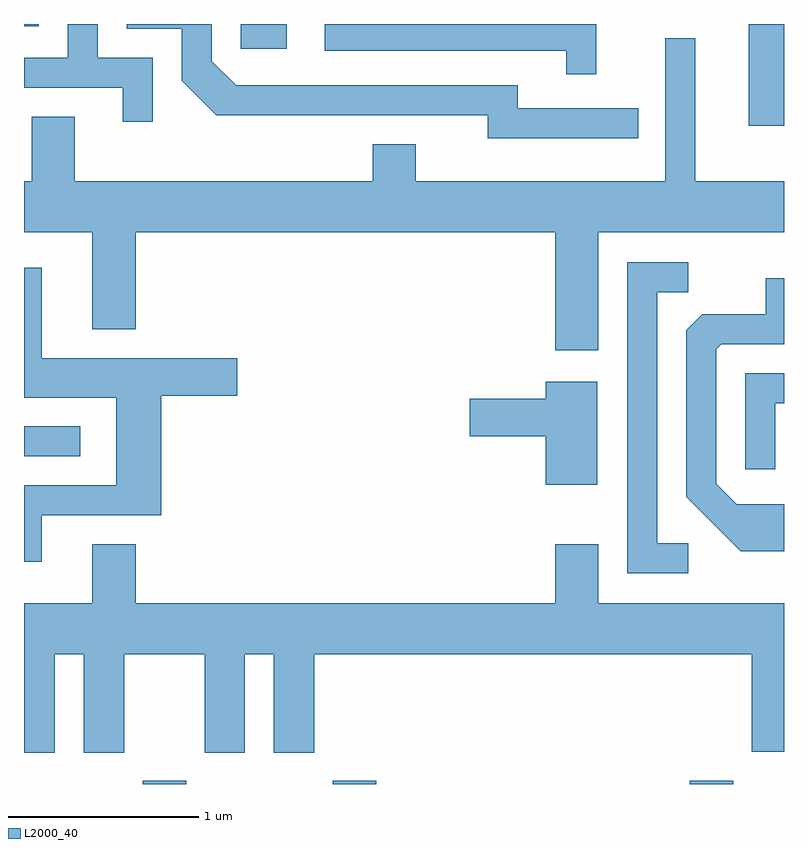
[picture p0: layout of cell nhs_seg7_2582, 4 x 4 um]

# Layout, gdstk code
import gdstk
lib = gdstk.Library(unit=1e-6, precision=1e-09)
def R(c, l, rs):  # rectangles x0, y0, x1, y1
    for r in rs: c.add(gdstk.rectangle(r[:2], r[2:], *l))
def P(c, l, *ps):  # polygons
    for p in ps: c.add(gdstk.Polygon(p, *l))
L2000_40 = (2000, 40)

nhs_seg7_2582 = lib.new_cell('nhs_seg7_2582')
R(nhs_seg7_2582, L2000_40, [(264.236,1760.252,264.464,1760.269), (265.236,1760.252,265.464,1760.269), (267.116,1760.252,267.344,1760.269), (263.611,1761.976,263.908,1762.134), (267.426,1763.716,267.611,1764.252), (264.751,1764.121,264.993,1764.252), (263.611,1764.241,263.689,1764.252)])
P(nhs_seg7_2582, L2000_40, [(266.624,1764.252),(265.193,1764.252),(265.193,1764.111),(266.466,1764.111),(266.466,1763.988),(266.624,1763.988)],
  [(264.289,1764.074),(263.999,1764.074),(263.999,1764.252),(263.841,1764.252),(263.841,1764.074),(263.611,1764.074),(263.611,1763.916),(264.131,1763.916),(264.131,1763.738),(264.289,1763.738)],
  [(266.843,1763.809),(266.209,1763.809),(266.209,1763.929),(264.727,1763.929),(264.599,1764.057),(264.599,1764.252),(264.151,1764.252),(264.151,1764.226),(264.441,1764.226),(264.441,1763.954),(264.624,1763.771),(266.051,1763.771),(266.051,1763.651),(266.843,1763.651)],
  [(266.634,1763.156),(267.611,1763.156),(267.611,1763.424),(267.144,1763.424),(267.144,1764.178),(266.986,1764.178),(266.986,1763.424),(265.674,1763.424),(265.674,1763.619),(265.446,1763.619),(265.446,1763.424),(263.879,1763.424),(263.879,1763.764),(263.651,1763.764),(263.651,1763.424),(263.611,1763.424),(263.611,1763.156),(263.971,1763.156),(263.971,1762.646),(264.199,1762.646),(264.199,1763.156),(266.406,1763.156),(266.406,1762.536),(266.634,1762.536)],
  [(267.108,1761.519),(266.944,1761.519),(266.944,1762.841),(267.108,1762.841),(267.108,1762.999),(266.786,1762.999),(266.786,1761.361),(267.108,1761.361)],
  [(263.704,1761.666),(264.334,1761.666),(264.334,1762.296),(264.734,1762.296),(264.734,1762.494),(263.704,1762.494),(263.704,1762.968),(263.611,1762.968),(263.611,1762.286),(264.096,1762.286),(264.096,1761.824),(263.611,1761.824),(263.611,1761.423),(263.704,1761.423)],
  [(267.611,1761.724),(267.362,1761.724),(267.254,1761.832),(267.254,1762.539),(267.282,1762.566),(267.611,1762.566),(267.611,1762.914),(267.516,1762.914),(267.516,1762.724),(267.182,1762.724),(267.096,1762.639),(267.096,1761.764),(267.384,1761.476),(267.611,1761.476)],
  [(267.564,1762.256),(267.611,1762.256),(267.611,1762.414),(267.406,1762.414),(267.406,1761.908),(267.564,1761.908)],
  [(266.629,1762.369),(266.356,1762.369),(266.356,1762.279),(265.956,1762.279),(265.956,1762.081),(266.356,1762.081),(266.356,1761.826),(266.629,1761.826)],
  [(263.774,1760.936),(263.926,1760.936),(263.926,1760.416),(264.139,1760.416),(264.139,1760.936),(264.561,1760.936),(264.561,1760.416),(264.774,1760.416),(264.774,1760.936),(264.926,1760.936),(264.926,1760.416),(265.139,1760.416),(265.139,1760.936),(267.441,1760.936),(267.441,1760.421),(267.611,1760.421),(267.611,1761.204),(266.634,1761.204),(266.634,1761.514),(266.406,1761.514),(266.406,1761.204),(264.199,1761.204),(264.199,1761.514),(263.971,1761.514),(263.971,1761.204),(263.611,1761.204),(263.611,1760.416),(263.774,1760.416)])

lib.write_gds('nhs_seg7_2582.gds')
